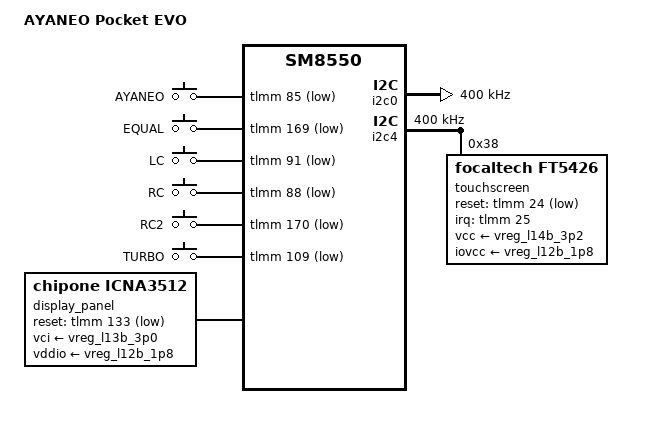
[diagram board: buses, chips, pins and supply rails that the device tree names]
// SPDX-License-Identifier: BSD-3-Clause
/*
 * Copyright (c) 2025, Teguh Sobirin.
 * Copyright (c) 2025, ROCKNIX (https://github.com/ROCKNIX)
 */

/dts-v1/;

#include "qcs8550-ayaneo-pocket-common.dtsi"

/ {
	model = "AYANEO Pocket EVO";
	qcom,board-id = <0x1000b 0x01>;
	qcom,msm-id = <0x258 0x20000>, <0x259 0x20000>;
	compatible = "ayaneo,pocketevo", "qcom,qcs8550", "qcom,sm8550";
	rocknix-u-boot-dt-id = "u-boot-pocket-evo";

	/*
	 * Extra buttons on TLMM GPIOs (values from the stock Android DT,
	 * soc/gpio_key + tlmm_key_default). Measured on the EVO:
	 *   left inner trigger button  -> gpio170 KEY_RIGHTSHIFT
	 *   right inner trigger button -> gpio91  KEY_LEFT
	 *   right-side AYANEO button   -> gpio85  KEY_A
	 *   right-side lower button    -> gpio169 KEY_EQUAL
	 * gpio88 and gpio109 (turbo) are in the Android DT but gave no events.
	 */
	gpio-keys-pocket-evo {
		compatible = "gpio-keys";
		label = "gpio-keys-pocket-evo";
		pinctrl-names = "default";
		pinctrl-0 = <&evo_keys_default>;

		key-aya {
			label = "AYANEO";
			gpios = <&tlmm 85 GPIO_ACTIVE_LOW>;
			linux,code = <KEY_A>;
			debounce-interval = <15>;
		};

		key-equal {
			label = "EQUAL";
			gpios = <&tlmm 169 GPIO_ACTIVE_LOW>;
			linux,code = <KEY_EQUAL>;
			debounce-interval = <15>;
		};

		key-lc {
			label = "LC";
			gpios = <&tlmm 91 GPIO_ACTIVE_LOW>;
			linux,code = <KEY_LEFT>;
			debounce-interval = <15>;
		};

		key-rc {
			label = "RC";
			gpios = <&tlmm 88 GPIO_ACTIVE_LOW>;
			linux,code = <KEY_RIGHT>;
			debounce-interval = <15>;
		};

		key-rc2 {
			label = "RC2";
			gpios = <&tlmm 170 GPIO_ACTIVE_LOW>;
			linux,code = <KEY_RIGHTSHIFT>;
			debounce-interval = <15>;
		};

		key-turbo {
			label = "TURBO";
			gpios = <&tlmm 109 GPIO_ACTIVE_LOW>;
			linux,code = <400>;
			debounce-interval = <15>;
		};
	};
};

&tlmm {
	evo_keys_default: evo-keys-default-state {
		pins = "gpio85", "gpio88", "gpio91", "gpio109", "gpio169", "gpio170";
		function = "gpio";
		drive-strength = <2>;
		bias-pull-up;
	};

	panel_pwr_active: panel-pwr-active-state {
		pins = "gpio152", "gpio153";
		function = "gpio";
		drive-strength = <8>;
		bias-disable;
		output-high;
	};

	ts_reset_active: ts-reset-active-state {
		pins = "gpio24";
		function = "gpio";
		drive-strength = <8>;
		bias-pull-up;
	};

	ts_reset_suspend: ts-reset-suspend-state {
		pins = "gpio24";
		function = "gpio";
		drive-strength = <2>;
		bias-pull-down;
	};

	ts_int_active: ts-int-default-state {
		pins = "gpio25";
		function = "gpio";
		bias-pull-up;
		drive-strength = <8>;
	};

	ts_int_suspend: ts-int-sleep-state {
		pins = "gpio25";
		function = "gpio";
		bias-pull-down;
		drive-strength = <2>;
	};
};

&i2c0 {
	clock-frequency = <400000>;
	status = "okay";

};

&i2c4 {
	clock-frequency = <400000>;
	status = "okay";
	touchscreen: touchscreen@38 {
		compatible = "focaltech,ft5426";
		reg = <0x38>;
		#address-cells = <1>;
		#size-cells = <0>;

		interrupt-parent = <&tlmm>;
		interrupts = <25 IRQ_TYPE_EDGE_FALLING>;

		reset-gpios = <&tlmm 24 GPIO_ACTIVE_LOW>;

		vcc-supply = <&vreg_l14b_3p2>;
		iovcc-supply = <&vreg_l12b_1p8>;

		pinctrl-0 = <&ts_int_active &ts_reset_active>;
		pinctrl-1 = <&ts_int_suspend &ts_reset_suspend>;
		pinctrl-names = "default", "sleep";

		touchscreen-size-x = <1080>;
		touchscreen-size-y = <1920>;
	};
};


&display_panel {
	compatible = "chipone,icna3512";

	vci-supply = <&vreg_l13b_3p0>;
	vddio-supply = <&vreg_l12b_1p8>;

	reset-gpios = <&tlmm 133 GPIO_ACTIVE_LOW>;

	rotation = <270>;
};
